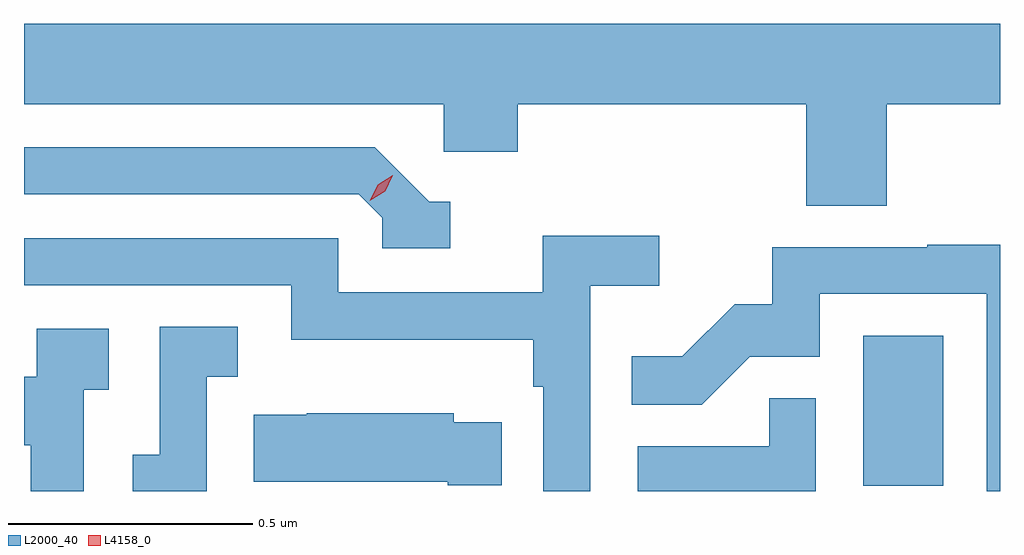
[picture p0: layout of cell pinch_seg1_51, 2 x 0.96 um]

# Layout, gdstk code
import gdstk
lib = gdstk.Library(unit=1e-6, precision=1e-09)
def R(c, l, rs):  # rectangles x0, y0, x1, y1
    for r in rs: c.add(gdstk.rectangle(r[:2], r[2:], *l))
def P(c, l, *ps):  # polygons
    for p in ps: c.add(gdstk.Polygon(p, *l))
L2000_40 = (2000, 40)
L4158_0 = (4158, 0)

pinch_seg1_51 = lib.new_cell('pinch_seg1_51')
R(pinch_seg1_51, L2000_40, [(1058.468,577.59,1058.632,577.897)])
P(pinch_seg1_51, L2000_40, [(1058.516,578.372),(1058.748,578.372),(1058.748,578.536),(1056.748,578.536),(1056.748,578.372),(1057.608,578.372),(1057.608,578.274),(1057.76,578.274),(1057.76,578.372),(1058.351,578.372),(1058.351,578.164),(1058.516,578.164)],
  [(1057.621,578.172),(1057.578,578.172),(1057.467,578.283),(1056.748,578.283),(1056.748,578.187),(1057.434,578.187),(1057.482,578.139),(1057.482,578.076),(1057.621,578.076)],
  [(1057.908,578),(1058.05,578),(1058.05,578.102),(1057.811,578.102),(1057.811,577.986),(1057.392,577.986),(1057.392,578.097),(1056.748,578.097),(1056.748,578.001),(1057.296,578.001),(1057.296,577.889),(1057.792,577.889),(1057.792,577.793),(1057.812,577.793),(1057.812,577.579),(1057.908,577.579)],
  [(1058.748,578.084),(1058.599,578.084),(1058.599,578.079),(1058.281,578.079),(1058.281,577.962),(1058.204,577.962),(1058.097,577.855),(1057.993,577.855),(1057.993,577.756),(1058.137,577.756),(1058.235,577.854),(1058.379,577.854),(1058.379,577.983),(1058.721,577.983),(1058.721,577.579),(1058.748,577.579)],
  [(1057.122,577.813),(1057.186,577.813),(1057.186,577.916),(1057.026,577.916),(1057.026,577.653),(1056.971,577.653),(1056.971,577.579),(1057.122,577.579)],
  [(1056.87,577.787),(1056.922,577.787),(1056.922,577.911),(1056.774,577.911),(1056.774,577.813),(1056.748,577.813),(1056.748,577.673),(1056.762,577.673),(1056.762,577.579),(1056.87,577.579)],
  [(1058.37,577.769),(1058.275,577.769),(1058.275,577.671),(1058.006,577.671),(1058.006,577.579),(1058.37,577.579)],
  [(1057.727,577.72),(1057.629,577.72),(1057.629,577.738),(1057.327,577.738),(1057.327,577.735),(1057.219,577.735),(1057.219,577.598),(1057.616,577.598),(1057.616,577.591),(1057.727,577.591)])
P(pinch_seg1_51, L4158_0, [(1057.457,578.174),(1057.457,578.174),(1057.473,578.207),(1057.504,578.226),(1057.504,578.226),(1057.504,578.226),(1057.488,578.193),(1057.457,578.174)])

lib.write_gds('pinch_seg1_51.gds')
